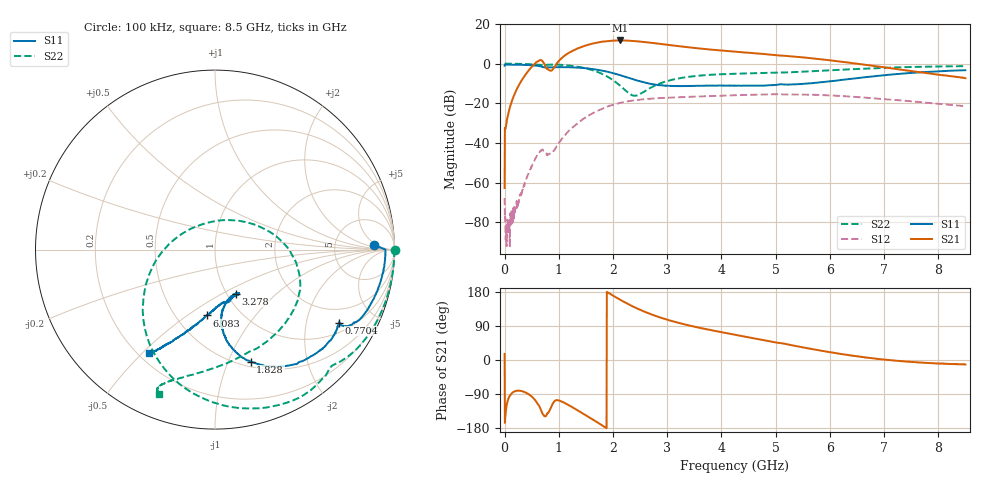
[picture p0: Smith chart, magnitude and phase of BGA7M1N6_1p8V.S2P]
! (c) 2014 Infineon Technologies AG
! BGA7M1N6 - Silicon Germanium Low Noise Amplifier for LTE
! 03 October 2014
! Special Application Board
! C1 = L1 = 0 Ohm
! C2 = 100 nF
! Vcc = 1.8V
! RF input and output lines de-embedded
! Port 1 reference plane: LNA input AI (pin 5)
! Port 2 reference plane: LNA output AO (pin 3)
! Network Data:
! Measured BGA7M1N6 device level s-parameters
# Hz S dB R 50
!Freq  MagS11  AngS11  MagS21  AngS21  MagS12  AngS12  MagS22  AngS22
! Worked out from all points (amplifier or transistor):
!   1601 points, 100 kHz to 8.5 GHz, reference 50 ohm
!   highest |S21| = 11.7 dB at 2.125 GHz (marker M1)
!   |S21| within 3 dB of that: 1.45 GHz to 3.25 GHz (1.8 GHz wide, 76.6 % of centre)
!   unconditionally stable (mu >= 1): 4.901 MHz to end of sweep
!   at 1.413 GHz: K = 1.36, MAG = 15.0 dB, |S12| = -28.7 dB
!   at 4.25 GHz: K = 1.25, MAG = 8.0 dB, |S12| = -15.9 dB
!   at 8.5 GHz: K = 2.13, MAG = 1.0 dB, |S12| = -21.5 dB
!   lowest NFmin = 0.54 dB at 2.04 GHz
!   S11 on the Smith chart (normalised r, x): 100 kHz: 15, +4; 770.4 MHz: 1.37, -3.11; 1.828 GHz: 0.55, -1.21; 3.278 GHz: 1.10, -0.58; 6.083 GHz: 0.70, -0.60; 8.5 GHz: 0.24, -0.52
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100000  -1.06 1.7  -62.73 16.1  -67.76 35.3  0.00 -0.1
4.791194e7  -0.45 -2.0  -27.79 -113.6  -83.06 123.5  -0.01 -3.3
2.072851e8  -0.51 -9.0  -13.88 -81.8  -72.79 138.1  -0.04 -14.2
4.516572e8  -0.73 -19.5  -3.17 -91.0  -54.81 -160.3  -0.22 -30.7
6.004054e8  -1.05 -26.8  1.04 -113.8  -46.23 -171.9  -0.53 -40.7
6.960293e8  -1.64 -30.8  1.39 -140.3  -43.32 166.6  -0.74 -45.2
7.704034e8  -1.93 -30.5  -2.31 -146.1  -45.31 157.7  -0.58 -48.9
9.032144e8  -1.83 -32.8  -2.41 -112.1  -44.09 -172.8  -0.46 -58.1
1.004151e9  -1.77 -36.2  1.45 -106.8  -39.95 -162.8  -0.54 -66.2
1.227273e9  -1.85 -45.2  6.10 -122.8  -32.83 -168.5  -1.08 -83.8
1.418521e9  -2.13 -53.4  8.43 -139.0  -28.61 -178.5  -1.90 -99.9
1.604456e9  -2.65 -62.3  9.97 -155.1  -25.29 168.7  -3.15 -116.7
1.827578e9  -3.68 -72.3  11.18 -175.2  -22.41 153.2  -5.55 -139.7
2.125075e9  -5.75 -82.6  11.70 159.5  -19.81 132.6  -10.95 -180.0
2.459759e9  -8.62 -84.2  11.23 135.0  -18.26 112.9  -15.81 84.5
2.836942e9  -10.81 -75.3  10.07 113.7  -17.42 96.4  -10.30 21.0
3.277874e9  -11.33 -64.4  8.61 95.4  -16.87 82.8  -7.13 -5.8
4.25005e9  -11.04 -63.7  6.06 66.6  -15.93 62.3  -5.10 -40.1
5.668471e9  -9.83 -88.6  2.71 28.9  -15.67 34.8  -3.83 -86.3
6.082841e9  -8.65 -97.0  1.40 18.7  -16.12 27.4  -3.24 -96.8
7.086892e9  -5.60 -112.4  -2.18 0.0  -18.09 16.2  -2.00 -110.5
8.5e9  -3.31 -122.5  -7.31 -11.9  -21.45 21.3  -1.26 -111.1
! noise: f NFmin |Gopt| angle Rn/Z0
1.8e+09  0.5822  0.5027  46.47  0.1751
1.84e+09  0.5912  0.4953  45.28  0.1881
1.92e+09  0.5687  0.5119  48.08  0.1607
2e+09  0.5758  0.4894  49.18  0.1811
2.08e+09  0.5961  0.4994  48.93  0.1577
2.12e+09  0.6009  0.4831  50.54  0.163
2.2e+09  0.6033  0.4772  55.15  0.1693
2.4e+09  0.6204  0.4695  59.02  0.1882
2.6e+09  0.6406  0.4912  51.13  0.1723
2.75e+09  0.6702  0.4728  63.09  0.1721
